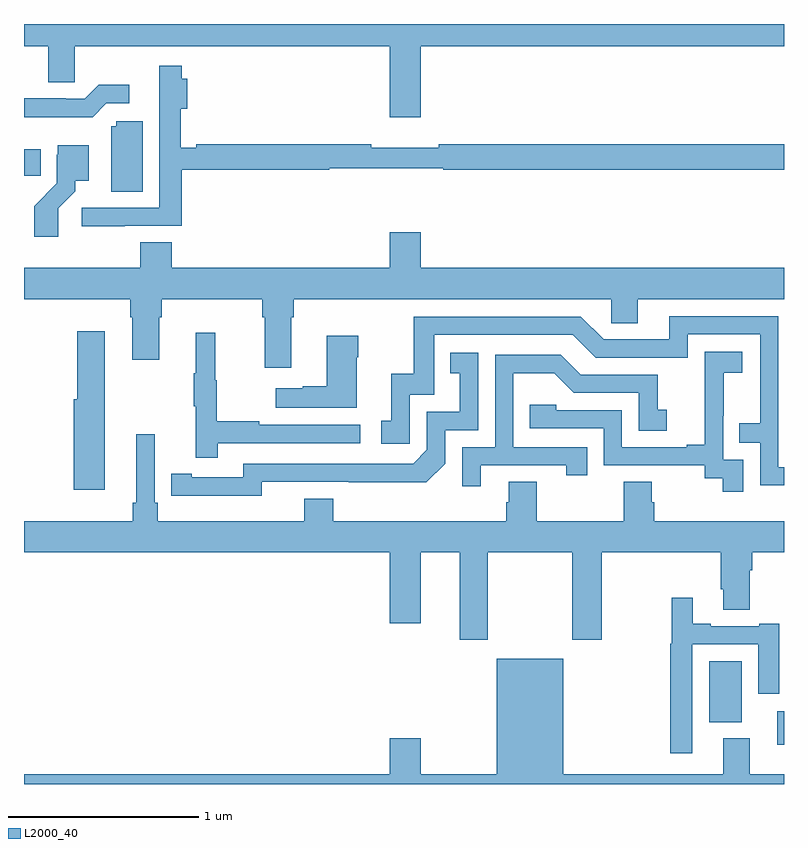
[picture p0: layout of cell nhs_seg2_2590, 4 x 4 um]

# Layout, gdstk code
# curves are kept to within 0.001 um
import gdstk
lib = gdstk.Library(unit=1e-6, precision=1e-09)
def R(c, l, rs):  # rectangles x0, y0, x1, y1
    for r in rs: c.add(gdstk.rectangle(r[:2], r[2:], *l))
def P(c, l, *ps):  # polygons
    for p in ps: c.add(gdstk.Polygon(p, *l))
L2000_40 = (2000, 40)

nhs_seg2_2590 = lib.new_cell('nhs_seg2_2590')
R(nhs_seg2_2590, L2000_40, [(250.964,596.006,251,596.182), (250.607,596.126,250.777,596.446), (247,599.002,247.088,599.14)])
P(nhs_seg2_2590, L2000_40, [(249.088,599.684),(251,599.684),(251,599.8),(247,599.8),(247,599.684),(247.127,599.684),(247.127,599.494),(247.266,599.494),(247.266,599.684),(248.924,599.684),(248.924,599.31),(249.088,599.31)],
  [(247.529,598.737),(247.829,598.737),(247.829,599.032),(248.606,599.032),(248.606,599.04),(249.206,599.04),(249.206,599.032),(251,599.032),(251,599.168),(249.184,599.168),(249.184,599.149),(248.828,599.149),(248.828,599.168),(247.906,599.168),(247.906,599.15),(247.825,599.15),(247.825,599.354),(247.859,599.354),(247.859,599.512),(247.829,599.512),(247.829,599.581),(247.712,599.581),(247.712,599.358),(247.713,599.358),(247.713,598.833),(247.305,598.833),(247.305,598.735),(247.529,598.735)],
  [(247.434,599.382),(247.555,599.382),(247.555,599.479),(247.393,599.479),(247.32,599.406),(247.22,599.406),(247.22,599.409),(247,599.409),(247,599.31),(247.361,599.31)],
  [(247.624,599.289),(247.485,599.289),(247.485,599.262),(247.46,599.262),(247.46,598.918),(247.624,598.918)],
  [(247.18,598.831),(247.27,598.921),(247.27,598.976),(247.342,598.976),(247.342,599.161),(247.178,599.161),(247.178,599.112),(247.173,599.112),(247.173,598.961),(247.054,598.842),(247.054,598.68),(247.18,598.68)],
  [(248.407,598.256),(248.42,598.256),(248.42,598.352),(250.092,598.352),(250.092,598.225),(250.231,598.225),(250.231,598.352),(251,598.352),(251,598.516),(249.088,598.516),(249.088,598.705),(248.924,598.705),(248.924,598.516),(247.778,598.516),(247.778,598.652),(247.613,598.652),(247.613,598.516),(247,598.516),(247,598.352),(247.559,598.352),(247.559,598.256),(247.571,598.256),(247.571,598.032),(247.711,598.032),(247.711,598.256),(247.724,598.256),(247.724,598.352),(248.255,598.352),(248.255,598.256),(248.267,598.256),(248.267,597.99),(248.407,597.99)],
  [(251,597.468),(250.971,597.468),(250.971,598.263),(250.397,598.263),(250.397,598.14),(250.05,598.14),(249.93,598.26),(249.051,598.26),(249.051,597.958),(248.933,597.958),(248.933,597.711),(248.88,597.711),(248.88,597.591),(249.03,597.591),(249.03,597.849),(249.159,597.849),(249.159,598.164),(249.888,598.164),(250.008,598.044),(250.494,598.044),(250.494,598.167),(250.875,598.167),(250.875,597.698),(250.765,597.698),(250.765,597.597),(250.875,597.597),(250.875,597.372),(251,597.372)],
  [(247.426,598.183),(247.28,598.183),(247.28,597.825),(247.262,597.825),(247.262,597.348),(247.426,597.348)],
  [(248.021,597.594),(248.77,597.594),(248.77,597.69),(248.237,597.69),(248.237,597.71),(248.014,597.71),(248.014,597.924),(248.006,597.924),(248.006,598.174),(247.904,598.174),(247.904,597.961),(247.893,597.961),(247.893,597.787),(247.904,597.787),(247.904,597.516),(248.021,597.516)],
  [(248.752,598.046),(248.76,598.046),(248.76,598.159),(248.594,598.159),(248.594,597.893),(248.468,597.893),(248.468,597.883),(248.325,597.883),(248.325,597.779),(248.752,597.779)],
  [(250.785,597.507),(250.68,597.507),(250.68,597.737),(250.682,597.737),(250.682,597.965),(250.78,597.965),(250.78,598.075),(250.582,598.075),(250.582,597.869),(250.583,597.869),(250.583,597.586),(250.487,597.586),(250.487,597.573),(250.146,597.573),(250.146,597.768),(249.801,597.768),(249.801,597.795),(249.661,597.795),(249.661,597.672),(250.05,597.672),(250.05,597.477),(250.584,597.477),(250.584,597.409),(250.677,597.409),(250.677,597.339),(250.785,597.339)],
  [(248.25,597.39),(249.118,597.389),(249.216,597.486),(249.216,597.663),(249.39,597.663),(249.39,598.069),(249.244,598.069),(249.244,597.963),(249.293,597.963),(249.293,597.759),(249.12,597.759),(249.12,597.558),(249.048,597.486),(248.154,597.486),(248.154,597.414),(247.882,597.414),(247.882,597.434),(247.774,597.434),(247.774,597.318),(248.25,597.317)],
  [(249.403,597.477),(249.854,597.477),(249.854,597.426),(249.965,597.426),(249.965,597.573),(249.576,597.573),(249.576,597.962),(249.79,597.962),(249.894,597.858),(250.236,597.858),(250.236,597.66),(250.384,597.66),(250.384,597.769),(250.335,597.769),(250.335,597.954),(249.931,597.954),(249.826,598.059),(249.48,598.059),(249.48,597.573),(249.306,597.573),(249.306,597.366),(249.403,597.366)],
  [(249.441,597.02),(249.886,597.02),(249.886,596.559),(250.041,596.559),(250.041,597.02),(250.667,597.02),(250.667,596.824),(250.679,596.824),(250.679,596.716),(250.819,596.716),(250.819,596.924),(250.832,596.924),(250.832,597.02),(251,597.02),(251,597.184),(250.316,597.184),(250.316,597.282),(250.303,597.282),(250.303,597.392),(250.156,597.392),(250.156,597.184),(249.699,597.184),(249.699,597.392),(249.551,597.392),(249.551,597.282),(249.539,597.282),(249.539,597.184),(248.627,597.184),(248.627,597.301),(248.474,597.301),(248.474,597.184),(247.703,597.184),(247.703,597.28),(247.689,597.28),(247.689,597.64),(247.592,597.64),(247.592,597.28),(247.573,597.28),(247.573,597.184),(247,597.184),(247,597.02),(248.924,597.02),(248.924,596.646),(249.088,596.646),(249.088,597.02),(249.293,597.02),(249.293,596.559),(249.441,596.559)],
  [(250.518,596.535),(250.865,596.535),(250.865,596.274),(250.975,596.274),(250.975,596.644),(250.871,596.644),(250.871,596.631),(250.615,596.631),(250.615,596.644),(250.519,596.644),(250.519,596.779),(250.41,596.779),(250.41,596.538),(250.402,596.538),(250.402,595.962),(250.518,595.962)],
  [(251,595.852),(250.819,595.852),(250.819,596.041),(250.679,596.041),(250.679,595.852),(249.838,595.852),(249.838,596.458),(249.488,596.458),(249.488,595.852),(249.088,595.852),(249.088,596.041),(248.924,596.041),(248.924,595.852),(247,595.852),(247,595.8),(251,595.8)])

lib.write_gds('nhs_seg2_2590.gds')
